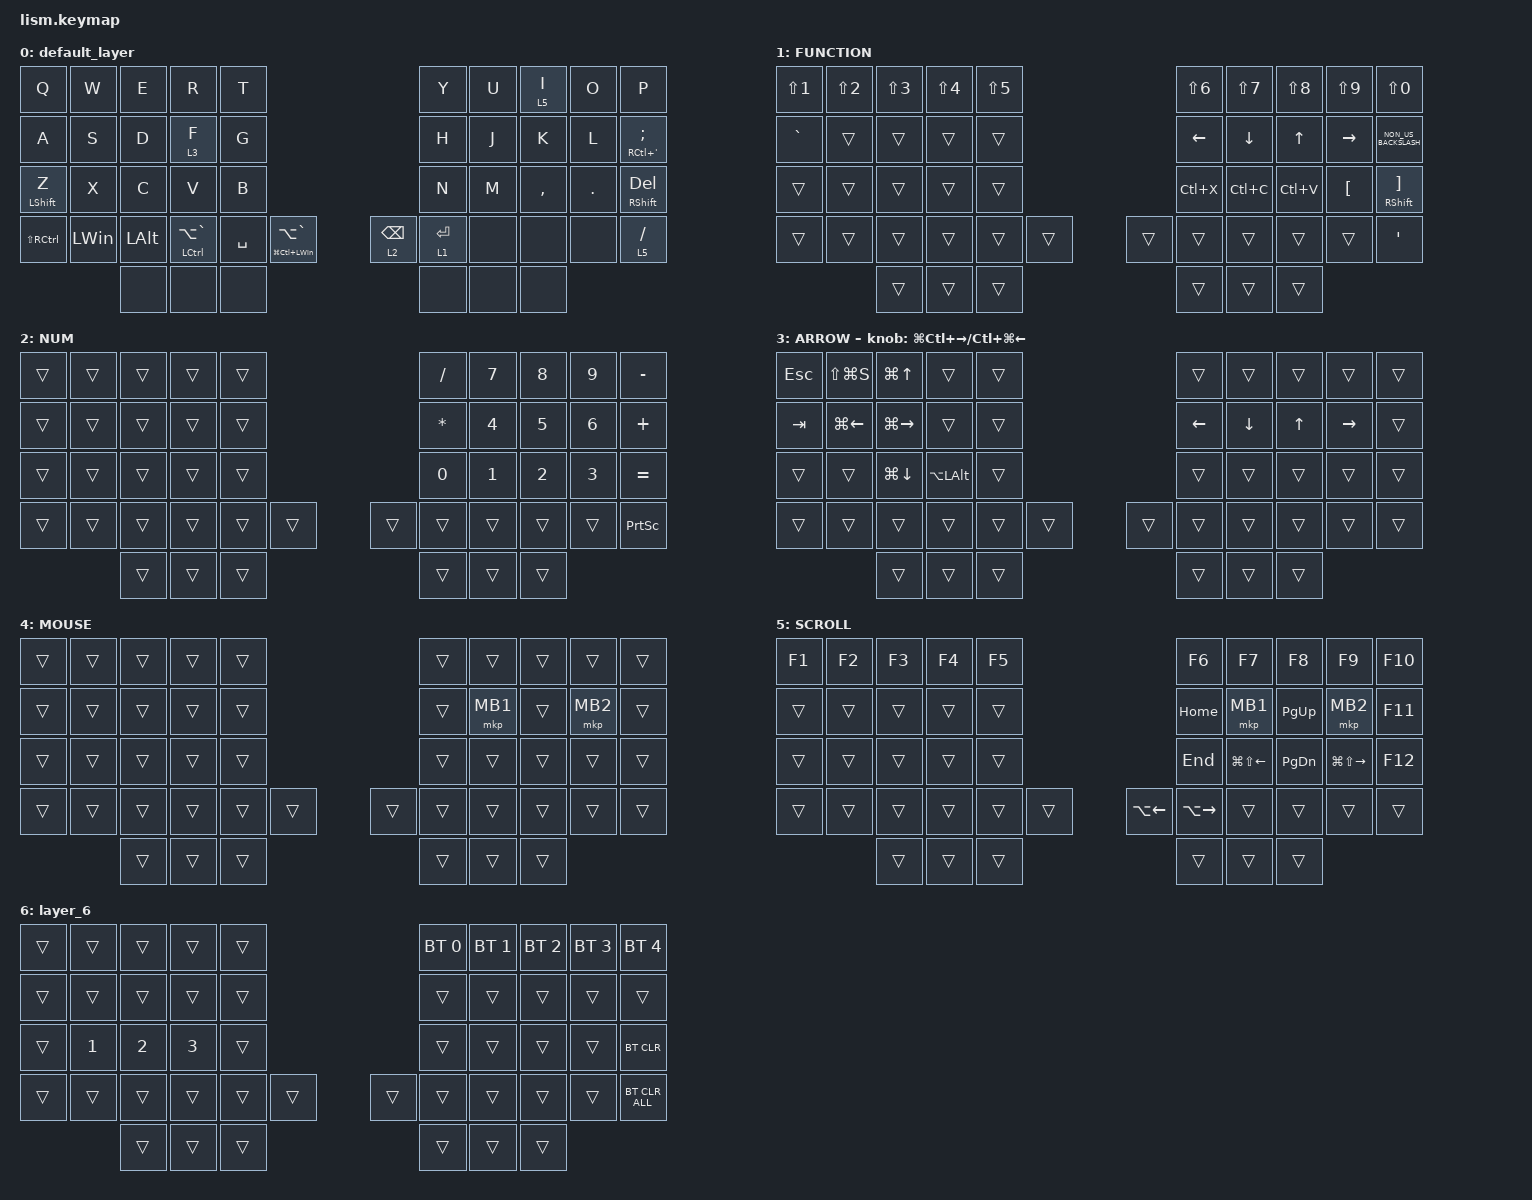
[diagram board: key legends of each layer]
#include <behaviors.dtsi>
#include <dt-bindings/zmk/bt.h>
#include <dt-bindings/zmk/keys.h>
#include <dt-bindings/zmk/pointing.h>

// roBa-ish-m（robaish-m の config/roBa.keymap）と同じキーマップ・レイヤー
// LisM にしかないキーは空白（&none / &trans）

&mt {
    flavor = "balanced";
    quick-tap-ms = <0>;
};

/ {
    combos {
        compatible = "zmk,combos";

        tab {
            bindings = <&kp TAB>;
            key-positions = <11 12>;
        };

        shift_tab {
            bindings = <&kp LS(TAB)>;
            key-positions = <12 13>;
        };

        muhennkann {
            bindings = <&to_layer_0 INT_MUHENKAN>;
            key-positions = <11 10>;
        };

        double_quotation {
            bindings = <&kp DOUBLE_QUOTES>;
            key-positions = <18 19>;
        };

        eq {
            bindings = <&kp EQUAL>;
            key-positions = <22 23>;
        };
    };

    macros {
        to_layer_0: to_layer_0 {
            compatible = "zmk,behavior-macro-one-param";
            #binding-cells = <1>;
            bindings = <&to 0 &macro_param_1to1 &kp MACRO_PLACEHOLDER>;
            label = "TO_LAYER_0";
        };
    };

    behaviors {
        lt_to_layer_0: lt_to_layer_0 {
            compatible = "zmk,behavior-hold-tap";
            label = "LAYER_TAP_TO_0";
            bindings = <&mo>, <&to_layer_0>;

            #binding-cells = <2>;
            tapping-term-ms = <200>;
        };
    };

    keymap {
        compatible = "zmk,keymap";

        default_layer {
            bindings = <
&kp Q             &kp W         &kp E         &kp R                &kp T                                                         &kp Y        &kp U  &lt 5 I    &kp O    &kp P
&kp A             &kp S         &kp D         &lt 3 F              &kp G                                                         &kp H        &kp J  &kp K      &kp L    &mt RC(SQT) SEMICOLON
&mt LEFT_SHIFT Z  &kp X         &kp C         &kp V                &kp B                                                         &kp N        &kp M  &kp COMMA  &kp DOT  &mt RIGHT_SHIFT DELETE
&kp LS(RCTRL)     &kp LEFT_WIN  &kp LEFT_ALT  &mt LCTRL LA(GRAVE)  &kp SPACE  &mt LG(LC(LEFT_WIN)) LA(GRAVE)    &lt 2 BACKSPACE  &lt 1 ENTER  &none  &none      &none    &lt 5 SLASH
                                &none         &none                &none                                                         &none        &none  &none
            >;
        };

        FUNCTION {
            bindings = <
&kp LS(NUMBER_1)  &kp LS(NUMBER_2)  &kp LS(NUMBER_3)  &kp LS(NUMBER_4)  &kp LS(NUMBER_5)                    &kp LS(NUMBER_6)  &kp LS(NUMBER_7)  &kp LS(NUMBER_8)  &kp LS(NUMBER_9)  &kp LS(NUMBER_0)
&kp GRAVE         &trans            &trans            &trans            &trans                              &kp LEFT_ARROW    &kp DOWN_ARROW    &kp UP_ARROW      &kp RIGHT_ARROW   &kp NON_US_BACKSLASH
&trans            &trans            &trans            &trans            &trans                              &kp LC(X)         &kp LC(C)         &kp LC(V)         &kp LEFT_BRACKET  &mt RIGHT_SHIFT RIGHT_BRACKET
&trans            &trans            &trans            &trans            &trans            &trans    &trans  &trans            &trans            &trans            &trans            &kp SQT
                                    &trans            &trans            &trans                              &trans            &trans            &trans
            >;
        };

        NUM {
            bindings = <
&trans  &trans  &trans  &trans  &trans                    &kp SLASH     &kp NUMBER_7  &kp NUMBER_8  &kp NUMBER_9  &kp MINUS
&trans  &trans  &trans  &trans  &trans                    &kp ASTERISK  &kp NUMBER_4  &kp NUMBER_5  &kp NUMBER_6  &kp PLUS
&trans  &trans  &trans  &trans  &trans                    &kp NUMBER_0  &kp NUMBER_1  &kp NUMBER_2  &kp NUMBER_3  &kp EQUAL
&trans  &trans  &trans  &trans  &trans  &trans    &trans  &trans        &trans        &trans        &trans        &kp PRINTSCREEN
                &trans  &trans  &trans                    &trans        &trans        &trans
            >;
        };

        ARROW {
            bindings = <
&kp ESCAPE  &kp LS(LG(S))       &kp LG(UP_ARROW)     &trans            &trans                    &trans          &trans          &trans        &trans           &trans
&kp TAB     &kp LG(LEFT_ARROW)  &kp LG(RIGHT_ARROW)  &trans            &trans                    &kp LEFT_ARROW  &kp DOWN_ARROW  &kp UP_ARROW  &kp RIGHT_ARROW  &trans
&trans      &trans              &kp LG(DOWN_ARROW)   &kp LA(LEFT_ALT)  &trans                    &trans          &trans          &trans        &trans           &trans
&trans      &trans              &trans               &trans            &trans  &trans    &trans  &trans          &trans          &trans        &trans           &trans
                                &trans               &trans            &trans                    &trans          &trans          &trans
            >;

            sensor-bindings = <&inc_dec_kp LG(LC(RIGHT_ARROW)) LC(LG(LEFT_ARROW))>;
        };

        MOUSE {
            bindings = <
&trans  &trans  &trans  &trans  &trans                    &trans  &trans    &trans  &trans    &trans
&trans  &trans  &trans  &trans  &trans                    &trans  &mkp MB1  &trans  &mkp MB2  &trans
&trans  &trans  &trans  &trans  &trans                    &trans  &trans    &trans  &trans    &trans
&trans  &trans  &trans  &trans  &trans  &trans    &trans  &trans  &trans    &trans  &trans    &trans
                &trans  &trans  &trans                    &trans  &trans    &trans
            >;
        };

        SCROLL {
            bindings = <
&kp F1  &kp F2  &kp F3  &kp F4  &kp F5                                &kp F6               &kp F7                  &kp F8         &kp F9                   &kp F10
&trans  &trans  &trans  &trans  &trans                                &kp HOME             &mkp MB1                &kp PAGE_UP    &mkp MB2                 &kp F11
&trans  &trans  &trans  &trans  &trans                                &kp END              &kp LG(LS(LEFT_ARROW))  &kp PAGE_DOWN  &kp LG(LS(RIGHT_ARROW))  &kp F12
&trans  &trans  &trans  &trans  &trans  &trans    &kp LA(LEFT_ARROW)  &kp LA(RIGHT_ARROW)  &trans                  &trans         &trans                   &trans
                &trans  &trans  &trans                                &trans               &trans                  &trans
            >;
        };

        layer_6 {
            bindings = <
&trans  &trans        &trans        &trans        &trans                    &bt BT_SEL 0  &bt BT_SEL 1  &bt BT_SEL 2  &bt BT_SEL 3  &bt BT_SEL 4
&trans  &trans        &trans        &trans        &trans                    &trans        &trans        &trans        &trans        &trans
&trans  &kp NUMBER_1  &kp NUMBER_2  &kp NUMBER_3  &trans                    &trans        &trans        &trans        &trans        &bt BT_CLR
&trans  &trans        &trans        &trans        &trans  &trans    &trans  &trans        &trans        &trans        &trans        &bt BT_CLR_ALL
                      &trans        &trans        &trans                    &trans        &trans        &trans
            >;
        };
    };
};
